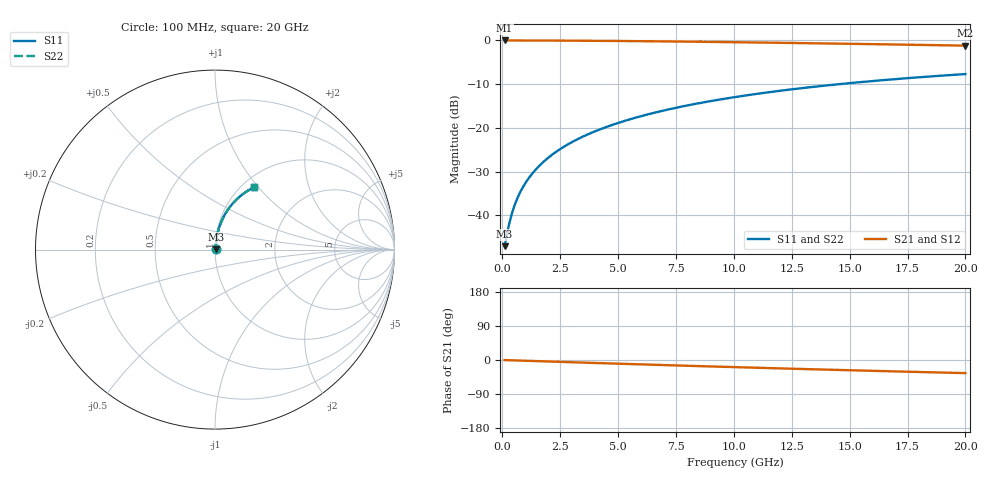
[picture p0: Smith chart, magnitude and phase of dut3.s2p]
! Touchstone file exported from HFSS 2024.1.0
!  File:  C:/UserFiles/LocalFiles/RDL_TSV_Batchsim/temp_RDL_top_3_1778679436.aedt
!  Generated:  09:39:56 PM May 13, 2026
!  Design:  RDL_top
!  Project:  temp_RDL_top_3_1778679436
!  Setup:  Setup1
!  Solution:  Sweep
! Variables:
!  dtsv = 10.80580581um
!  hbump = 3um
!  htsv = 95.61um
!  ldown = 100um
!  lrdl = 413.96um
!  p = 40
!  p1 = 50.18um
!  rhole = 1um
!  t = 450um
!  tdown = 3.915915916um
!  trdl = 3.24um
!  wdown = 15.38538539um
!  wrdl = 12.39um
# GHz S MA R 50.000000
! Terminal data exported
! Port[1] = Box2_T1
! Port[2] = Box2_T2
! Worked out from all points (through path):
!   200 points, 100 MHz to 20 GHz, reference 50 ohm
!   highest |S21| = -0.03 dB at 100 MHz (marker M1); lowest = -1.2 dB at 20 GHz (marker M2)
!   group delay of S21, straight-line fit = 4.81 ps
!   lowest |S11| = -47.0 dB at 100 MHz (marker M3), VSWR 1.01, Z = 50.4 + j0.238 ohm
!   |S11| at or under -10 dB: start of sweep to 14.58 GHz
!   |S22| runs from -47.0 to -7.7 dB; largest |S21 - S12| = 2.7e-15
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0.1  0.004443 32.1  0.9962 -0.2  0.9962 -0.2  0.004443 32.1
! Gamma 0 0 0 0
! Port Impedance 50 0 50 0
0.2  0.006067 50.9  0.9962 -0.4  0.9962 -0.4  0.006067 50.9
0.3  0.008054 60.9  0.9961 -0.6  0.9961 -0.6  0.008054 60.9
0.4  0.01017 66.7  0.996 -0.8  0.996 -0.8  0.01017 66.7
0.5  0.01235 70.4  0.9959 -1.0  0.9959 -1.0  0.01235 70.4
0.6  0.01455 72.9  0.9958 -1.2  0.9958 -1.2  0.01455 72.9
0.8  0.01897 76.2  0.9955 -1.6  0.9955 -1.6  0.01897 76.2
1.1  0.02565 78.8  0.9951 -2.2  0.9951 -2.2  0.02565 78.8
1.5  0.03462 80.5  0.9945 -3.0  0.9945 -3.0  0.03462 80.6
1.8  0.04136 81.2  0.9939 -3.6  0.9939 -3.6  0.04136 81.2
2.1  0.04813 81.6  0.9933 -4.2  0.9933 -4.2  0.04813 81.6
2.7  0.06168 81.7  0.9917 -5.3  0.9917 -5.3  0.06168 81.7
3.5  0.07976 81.4  0.9892 -6.9  0.9892 -6.9  0.07976 81.4
4.2  0.09558 80.8  0.9865 -8.2  0.9865 -8.2  0.09558 80.8
5  0.1136 79.9  0.9829 -9.7  0.9829 -9.7  0.1136 79.9
5.9  0.1338 78.8  0.9784 -11.4  0.9784 -11.4  0.1338 78.8
6.8  0.1539 77.6  0.9733 -13.1  0.9733 -13.1  0.1539 77.6
8.3  0.1869 75.4  0.9639 -15.8  0.9639 -15.8  0.187 75.4
10.1  0.2257 72.7  0.9514 -19.0  0.9514 -19.0  0.2257 72.7
13.4  0.2933 67.6  0.9258 -24.5  0.9258 -24.5  0.2933 67.6
16.7  0.3554 62.6  0.8981 -29.7  0.8981 -29.7  0.3554 62.6
20  0.4114 57.8  0.8694 -34.6  0.8694 -34.6  0.4115 57.8
